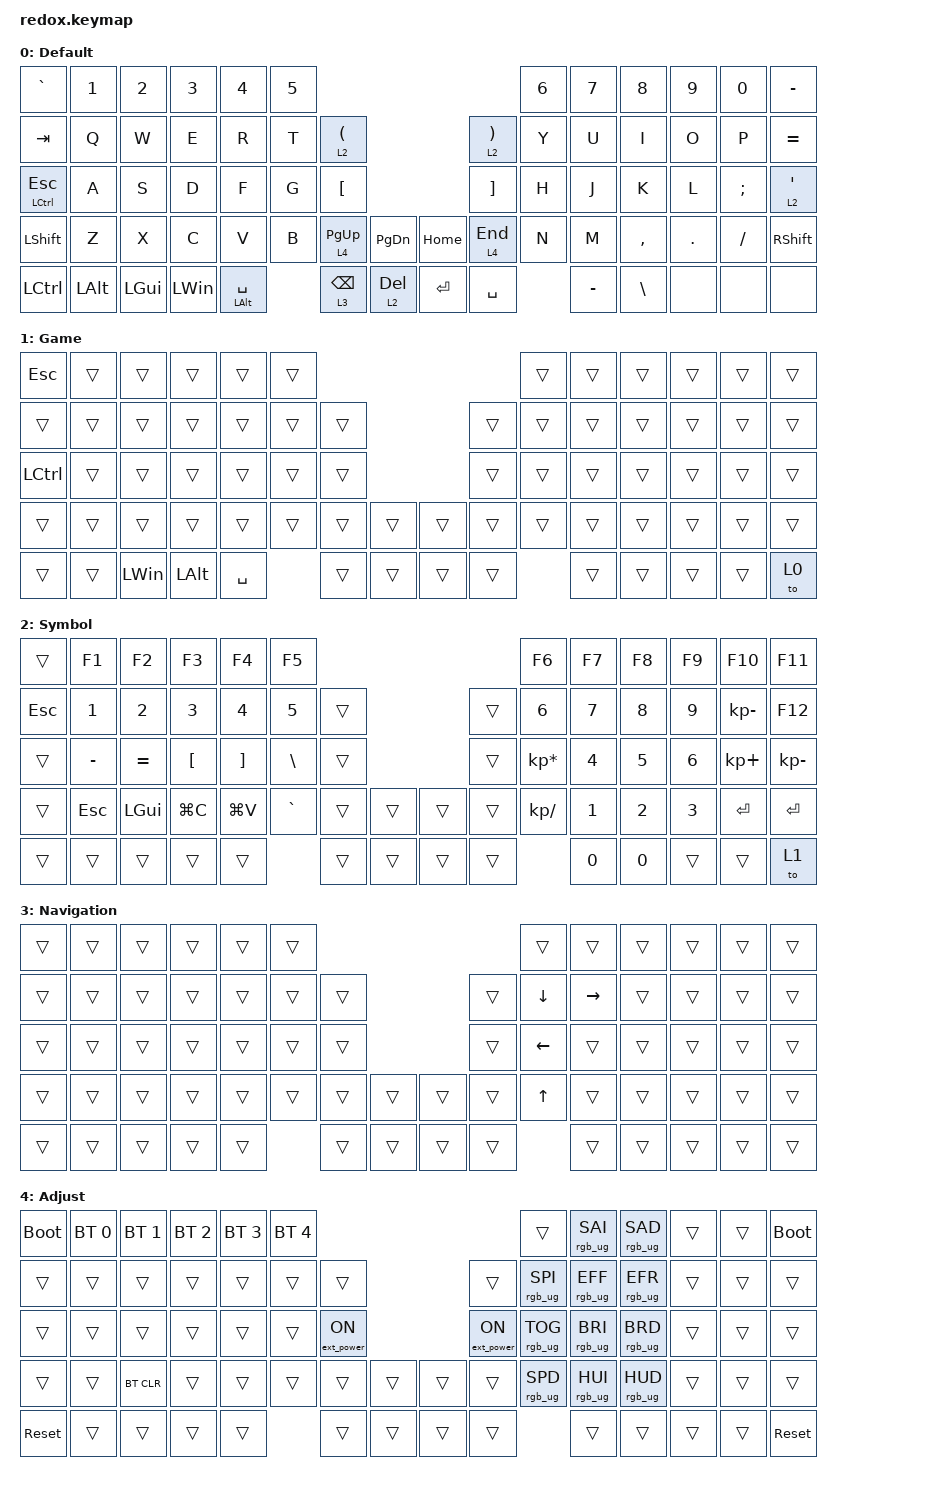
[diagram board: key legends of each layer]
/*
 * Copyright (c) 2021 The ZMK Contributors
 *
 * SPDX-License-Identifier: MIT
 */

#include <behaviors.dtsi>
#include <dt-bindings/zmk/bt.h>
#include <dt-bindings/zmk/ext_power.h>
#include <dt-bindings/zmk/keys.h>
#include <dt-bindings/zmk/rgb.h>

&mt { flavor = "hold-preferred"; };

/ {
    keymap {
        compatible = "zmk,keymap";

        Default {
            // --------------------------------------------------------------------------------------------------------------------------------
            // | ESC   |  1  |  2  |   3   |  4  |  5  |                   ---                |  6    |  7    |  8    |  9   | 0  |    BKSP   |
            // | TAB   |  Q  |  W  |   E   |  R  |  T  |   (   |           ---        |  )    |  Y    |  U    |  I    |  O   | P  |     -     |
            // | CTRL  |  A  |  S  |   D   |  F  |  G  |   [   |           ---        |  ]    |  H    |  J    |  K    |  L   | ;  |     '     |
            // | SHIFT |  Z  |  X  |   C   |  V  |  B  | PG_UP | PG_DOWN | --- | HOME | END   |  N    |  M    |  ,    |  .   | /  | SHFT(RET) |
            // | CRTL  | ALT | GUI | LOWER |    GUI    | LOWER | SPACE   | --- | DEL  | SPACE |     RAISE     | LEFT  | DOWN | UP |   RIGHT   |

            bindings = <
&kp GRAVE             &kp N1    &kp N2    &kp N3        &kp N4              &kp N5                                                                            &kp N6  &kp N7     &kp N8         &kp N9   &kp N0    &kp MINUS
&kp TAB               &kp Q     &kp W     &kp E         &kp R               &kp T   &lt 2 LEFT_PARENTHESIS                           &lt 2 RIGHT_PARENTHESIS  &kp Y   &kp U      &kp I          &kp O    &kp P     &kp EQUAL
&mt LEFT_CONTROL ESC  &kp A     &kp S     &kp D         &kp F               &kp G   &kp LBKT                                         &kp RBKT                 &kp H   &kp J      &kp K          &kp L    &kp SEMI  &lt 2 SQT
&kp LSHFT             &kp Z     &kp X     &kp C         &kp V               &kp B   &lt 4 PAGE_UP           &kp PG_DN     &kp HOME   &lt 4 END                &kp N   &kp M      &kp COMMA      &kp DOT  &kp FSLH  &kp RIGHT_SHIFT
&kp LCTRL             &kp LALT  &kp LGUI  &kp LEFT_WIN  &mt LEFT_ALT SPACE          &lt 3 BACKSPACE         &lt 2 DELETE  &kp ENTER  &kp SPACE                        &kp MINUS  &kp BACKSLASH  &none    &none     &none
            >;
        };

        Game {
            bindings = <
&kp ESC           &trans  &trans        &trans        &trans     &trans                                  &trans  &trans  &trans  &trans  &trans  &trans
&trans            &trans  &trans        &trans        &trans     &trans  &trans                  &trans  &trans  &trans  &trans  &trans  &trans  &trans
&kp LEFT_CONTROL  &trans  &trans        &trans        &trans     &trans  &trans                  &trans  &trans  &trans  &trans  &trans  &trans  &trans
&trans            &trans  &trans        &trans        &trans     &trans  &trans  &trans  &trans  &trans  &trans  &trans  &trans  &trans  &trans  &trans
&trans            &trans  &kp LEFT_WIN  &kp LEFT_ALT  &kp SPACE          &trans  &trans  &trans  &trans          &trans  &trans  &trans  &trans  &to 0
            >;
        };

        Symbol {
            // --------------------------------------------------------------------------------------------------------------------------
            // | ESC   |  1  |  2  |   3   |   4   |  5  |                   ---              |  6  |  7  |   8  |  9   |  0  |  DEL  |
            // | ESC   |  1  |  2  |   3   |   4   |  5  |   (   |           ---        |  )  |  6  |  7  |   8  |  9   |  0  |  DEL  |
            // | CTRL  |  -  |  =  |   [   |   ]   |  \  |   [   |           ---        |  ]  |  *  |  4  |   5  |  6   |  +  |   -   |
            // | SHIFT | ESC | GUI | COPY  | PASTE |     | PG_UP | PG_DOWN | --- | HOME | END |  \  |  1  |   2  |  3   | RET |  RET  |
            // | CRTL  | ALT | GUI | LOWER |     GUI     | LOWER | SPACE   | --- | DEL  |  0  |    RAISE  | LEFT | DOWN | UP  | RIGHT |

            bindings = <
&trans   &kp F1     &kp F2     &kp F3     &kp F4     &kp F5                                     &kp F6           &kp F7  &kp F8  &kp F9  &kp F10       &kp F11
&kp ESC  &kp N1     &kp N2     &kp N3     &kp N4     &kp N5     &trans                  &trans  &kp N6           &kp N7  &kp N8  &kp N9  &kp KP_MINUS  &kp F12
&trans   &kp MINUS  &kp EQUAL  &kp LBKT   &kp RBKT   &kp BSLH   &trans                  &trans  &kp KP_MULTIPLY  &kp N4  &kp N5  &kp N6  &kp KP_PLUS   &kp KP_MINUS
&trans   &kp ESC    &kp LGUI   &kp LG(C)  &kp LG(V)  &kp GRAVE  &trans  &trans  &trans  &trans  &kp KP_DIVIDE    &kp N1  &kp N2  &kp N3  &kp RET       &kp RET
&trans   &trans     &trans     &trans     &trans                &trans  &trans  &trans  &trans                   &kp N0  &kp N0  &trans  &trans        &to 1
            >;
        };

        Navigation {
            // ----------------------------------------------------------------------------------------------------------------------------
            // | ESC   |  1  |  2  |   3   |  4  |  5  |                   ---                |  6   |  7   |  8   |  9   |  0    |  DEL  |
            // | ESC   |  !  |  @  |   #   |  $  |  %  |   (   |           ---        |  )    |  ^   |  &   |  *   |  (   |  )    |  DEL  |
            // | CTRL  |  _  |  +  |   {   |  }  | "|" |   [   |           ---        |  ]    | HOME | PGUP | PRSC | UP   |  `    |   ~   |
            // | SHIFT | ESC | GUI |   (   |  )  |     | PG_UP | PG_DOWN | --- | HOME | END   | END  | PGDN | LEFT | DOWN | RIGHT |  RET  |
            // | CRTL  | ALT | GUI | LOWER |    GUI    | LOWER | SPACE   | --- | DEL  | SPACE |    RAISE    | LEFT | DOWN | UP    | RIGHT |

            bindings = <
&trans  &trans  &trans  &trans  &trans  &trans                                  &trans    &trans     &trans  &trans  &trans  &trans
&trans  &trans  &trans  &trans  &trans  &trans  &trans                  &trans  &kp DOWN  &kp RIGHT  &trans  &trans  &trans  &trans
&trans  &trans  &trans  &trans  &trans  &trans  &trans                  &trans  &kp LEFT  &trans     &trans  &trans  &trans  &trans
&trans  &trans  &trans  &trans  &trans  &trans  &trans  &trans  &trans  &trans  &kp UP    &trans     &trans  &trans  &trans  &trans
&trans  &trans  &trans  &trans  &trans          &trans  &trans  &trans  &trans            &trans     &trans  &trans  &trans  &trans
            >;
        };

        Adjust {
            bindings = <
&bootloader  &bt BT_SEL 0  &bt BT_SEL 1  &bt BT_SEL 2  &bt BT_SEL 3  &bt BT_SEL 4                                                      &trans           &rgb_ug RGB_SAI  &rgb_ug RGB_SAD  &trans  &trans  &bootloader
&trans       &trans        &trans        &trans        &trans        &trans        &trans                            &trans            &rgb_ug RGB_SPI  &rgb_ug RGB_EFF  &rgb_ug RGB_EFR  &trans  &trans  &trans
&trans       &trans        &trans        &trans        &trans        &trans        &ext_power EP_ON                  &ext_power EP_ON  &rgb_ug RGB_TOG  &rgb_ug RGB_BRI  &rgb_ug RGB_BRD  &trans  &trans  &trans
&trans       &trans        &bt BT_CLR    &trans        &trans        &trans        &trans            &trans  &trans  &trans            &rgb_ug RGB_SPD  &rgb_ug RGB_HUI  &rgb_ug RGB_HUD  &trans  &trans  &trans
&sys_reset   &trans        &trans        &trans        &trans                      &trans            &trans  &trans  &trans                             &trans           &trans           &trans  &trans  &sys_reset
            >;
        };
    };
};
